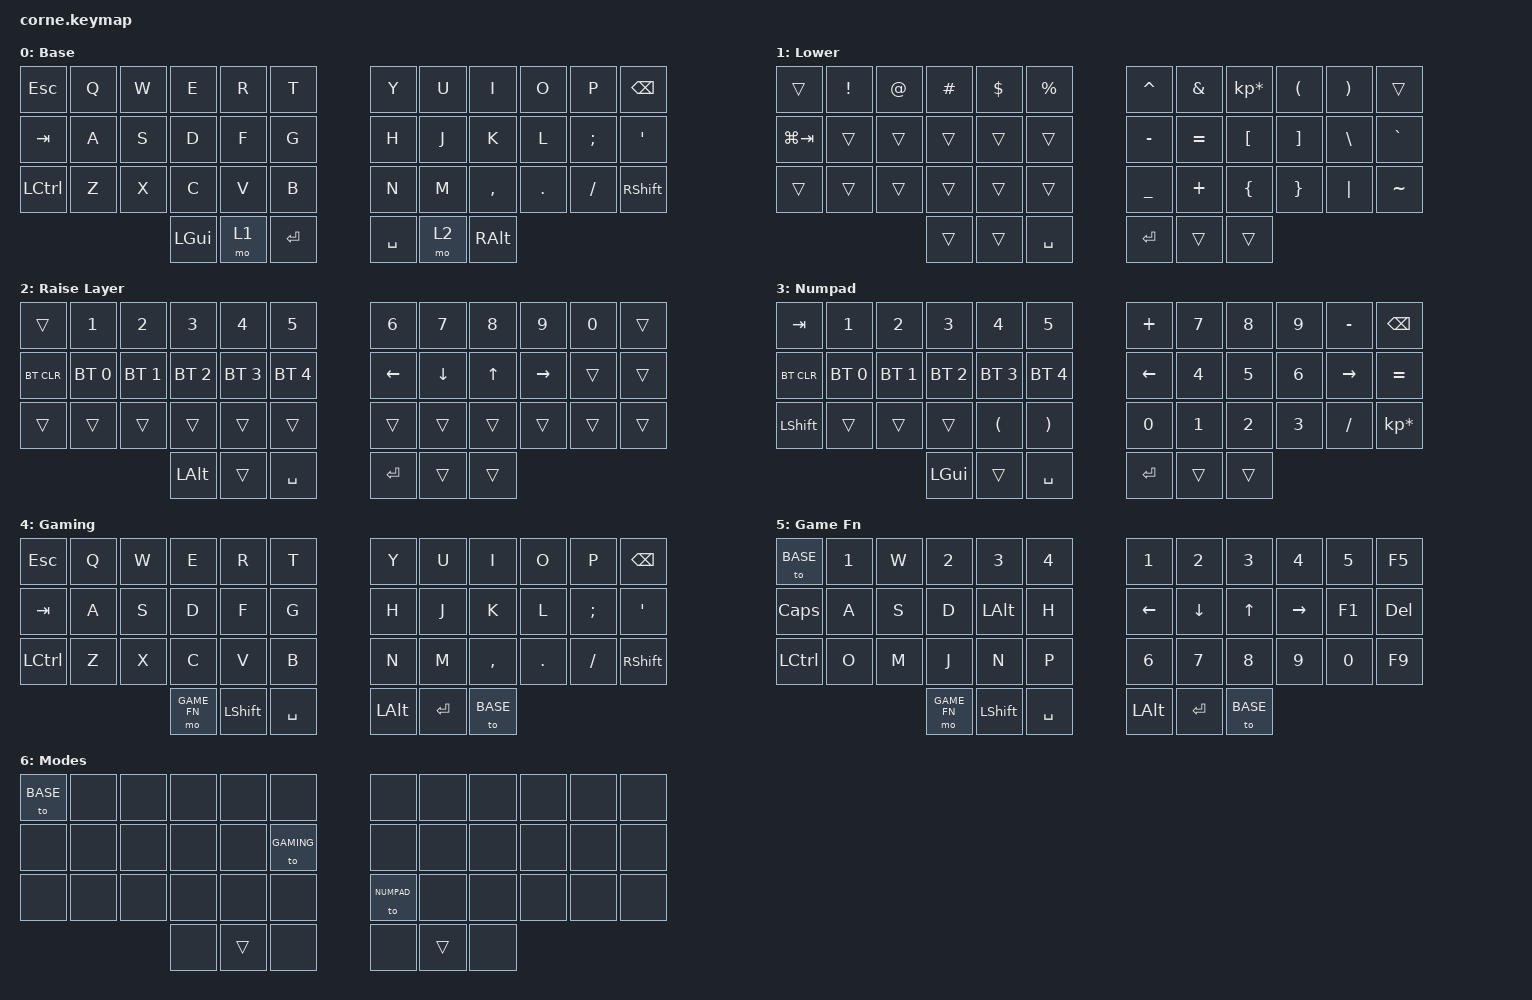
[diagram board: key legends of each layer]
/*
 * Copyright (c) 2020 The ZMK Contributors
 *
 * SPDX-License-Identifier: MIT
 */

#include <behaviors.dtsi>
#include <dt-bindings/zmk/bt.h>
#include <dt-bindings/zmk/keys.h>

#define BASE 0
#define LOWER 1
#define RAISE 2
#define NUMPAD 3
#define GAMING 4
#define GAME_FN 5
#define MODES 6

/ {
    conditional_layers {
        compatible = "zmk,conditional-layers";

        mode_selector {
            if-layers = <LOWER RAISE>;
            then-layer = <MODES>;
        };
    };

    keymap {
        compatible = "zmk,keymap";

        default_layer {
            // -----------------------------------------------------------------------------------------
            // |  TAB  |  Q  |  W  |  E  |  R  |  T  |   |  Y  |  U  |  I  |  O  |  P  | BKSP |
            // | CTRL  |  A  |  S  |  D  |  F  |  G  |   |  H  |  J  |  K  |  L  |  ;  |  '   |
            // | SHFT  |  Z  |  X  |  C  |  V  |  B  |   |  N  |  M  |  ,  |  .  |  /  | RSHFT|
            //                    | GUI | LWR | ENT |   | SPC | RSE | RALT|

            display-name = "Base";
            bindings = <
&kp ESCAPE        &kp Q  &kp W  &kp E     &kp R  &kp T        &kp Y      &kp U  &kp I          &kp O    &kp P     &kp BSPC
&kp TAB           &kp A  &kp S  &kp D     &kp F  &kp G        &kp H      &kp J  &kp K          &kp L    &kp SEMI  &kp APOS
&kp LEFT_CONTROL  &kp Z  &kp X  &kp C     &kp V  &kp B        &kp N      &kp M  &kp COMMA      &kp DOT  &kp FSLH  &kp RIGHT_SHIFT
                                &kp LGUI  &mo 1  &kp ENTER    &kp SPACE  &mo 2  &kp RIGHT_ALT
            >;
        };

        lower_layer {
            // -----------------------------------------------------------------------------------------
            // |  TAB |  !  |  @  |  #  |  $  |  %  |   |  ^  |  &  |  *  |  (  |  )  | BKSP |
            // |CMDTAB|     |     |     |     |     |   |  -  |  =  |  [  |  ]  |  \  |  `   |
            // | SHFT |     |     |     |     |     |   |  _  |  +  |  {  |  }  | "|" |  ~   |
            //                    | GUI |     | SPC |   | ENT |     | ALT |

            display-name = "Lower";
            bindings = <
&trans  &kp EXCL  &kp AT  &kp HASH  &kp DLLR  &kp PRCNT    &kp CARET  &kp AMPS   &kp KP_MULTIPLY  &kp LPAR  &kp RPAR  &trans
&kp LG(TAB)  &trans  &trans  &trans  &trans  &trans       &kp MINUS  &kp EQUAL  &kp LBKT         &kp RBKT  &kp BSLH  &kp GRAVE
&trans  &trans    &trans  &trans    &trans    &trans       &kp UNDER  &kp PLUS   &kp LBRC         &kp RBRC  &kp PIPE  &kp TILDE
                          &trans    &trans    &kp SPACE    &kp RET    &trans     &trans
            >;
        };

        raise_layer {
            // -----------------------------------------------------------------------------------------
            // |  TAB |  1  |  2  |  3  |  4  |  5  |   |  6  |  7  |  8  |  9  |  0  | BKSP |
            // | BTCLR| BT1 | BT2 | BT3 | BT4 | BT5 |   | LFT | DWN |  UP | RGT |     |      |
            // | SHFT |     |     |     |     |     |   |     |     |     |     |     |      |
            //                    | GUI |     | SPC |   | ENT |     | ALT |

            display-name = "Raise Layer";
            bindings = <
&trans      &kp N1        &kp N2        &kp N3        &kp N4        &kp N5          &kp N6    &kp N7    &kp N8  &kp N9     &kp N0  &trans
&bt BT_CLR  &bt BT_SEL 0  &bt BT_SEL 1  &bt BT_SEL 2  &bt BT_SEL 3  &bt BT_SEL 4    &kp LEFT  &kp DOWN  &kp UP  &kp RIGHT  &trans  &trans
&trans      &trans        &trans        &trans        &trans        &trans          &trans    &trans    &trans  &trans     &trans  &trans
                                        &kp LEFT_ALT  &trans        &kp SPACE       &kp RET   &trans    &trans
            >;
        };

        numpad_layer {
            display-name = "Numpad";
            bindings = <
&kp TAB     &kp N1        &kp N2        &kp N3        &kp N4                &kp N5                   &kp PLUS      &kp N7        &kp N8        &kp N9        &kp MINUS  &kp BSPC
&bt BT_CLR  &bt BT_SEL 0  &bt BT_SEL 1  &bt BT_SEL 2  &bt BT_SEL 3          &bt BT_SEL 4             &kp LEFT      &kp NUMBER_4  &kp NUMBER_5  &kp NUMBER_6  &kp RIGHT  &kp EQUAL
&kp LSHFT   &trans        &trans        &trans        &kp LEFT_PARENTHESIS  &kp RIGHT_PARENTHESIS    &kp NUMBER_0  &kp NUMBER_1  &kp NUMBER_2  &kp NUMBER_3  &kp SLASH  &kp KP_MULTIPLY
                                        &kp LGUI      &trans                &kp SPACE                &kp RET       &trans        &trans
            >;
        };

        gaming_layer {
            display-name = "Gaming";
            bindings = <
&kp ESCAPE        &kp Q  &kp W  &kp E  &kp R  &kp T       &kp Y         &kp U      &kp I      &kp O    &kp P     &kp BSPC
&kp TAB           &kp A  &kp S  &kp D  &kp F  &kp G       &kp H         &kp J      &kp K      &kp L    &kp SEMI  &kp APOS
&kp LEFT_CONTROL  &kp Z  &kp X  &kp C  &kp V  &kp B       &kp N         &kp M      &kp COMMA  &kp DOT  &kp FSLH  &kp RIGHT_SHIFT
                              &mo GAME_FN  &kp LEFT_SHIFT  &kp SPACE    &kp LEFT_ALT  &kp ENTER  &to BASE
            >;
        };

        game_fn_layer {
            // Keep movement, sprint and jump available while holding Fn.
            // Fn + physical F sends Alt for the weapon wheel, with no F keypress.
            display-name = "Game Fn";
            bindings = <
&to BASE          &kp N1  &kp W  &kp N2  &kp N3        &kp N4    &kp N1    &kp N2    &kp N3  &kp N4     &kp N5  &kp F5
&kp CAPSLOCK      &kp A   &kp S  &kp D   &kp LEFT_ALT  &kp H     &kp LEFT  &kp DOWN  &kp UP  &kp RIGHT  &kp F1  &kp DELETE
&kp LEFT_CONTROL  &kp O   &kp M  &kp J   &kp N         &kp P     &kp N6    &kp N7    &kp N8  &kp N9     &kp N0  &kp F9
                                &mo GAME_FN  &kp LEFT_SHIFT  &kp SPACE    &kp LEFT_ALT  &kp ENTER  &to BASE
            >;
        };

        modes_layer {
            // Lower + Raise: G = Gaming, N = Numpad, Esc = Base.
            // Block other keys, including the underlying BT_CLR position.
            display-name = "Modes";
            bindings = <
&to BASE  &none  &none  &none  &none  &none         &none       &none  &none  &none  &none  &none
&none     &none  &none  &none  &none  &to GAMING    &none       &none  &none  &none  &none  &none
&none     &none  &none  &none  &none  &none         &to NUMPAD  &none  &none  &none  &none  &none
                       &none  &trans  &none        &none       &trans  &none
            >;
        };
    };
};
